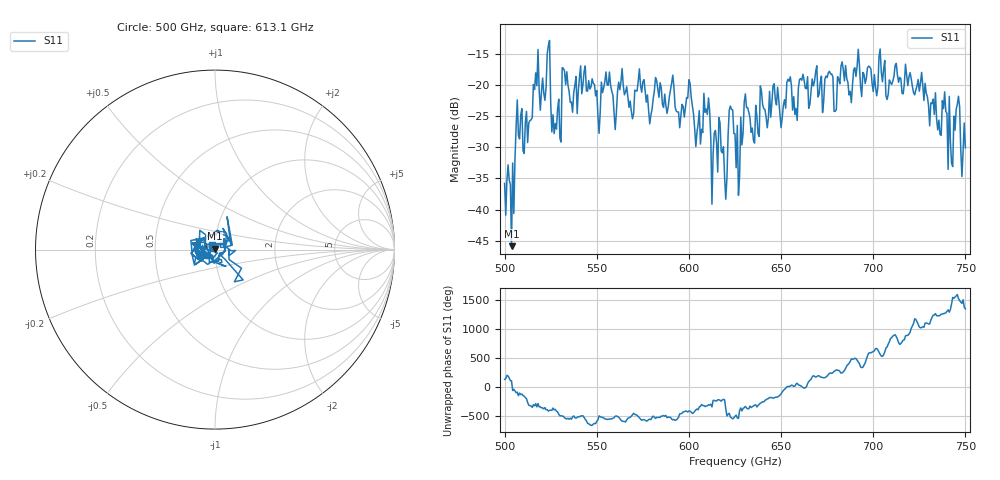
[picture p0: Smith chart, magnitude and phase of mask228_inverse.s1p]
!Created with skrf (http://scikit-rf.org).
# GHz S MA R 50.0
!freq magS11 angS11
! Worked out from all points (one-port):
!   401 points, 500 GHz to 750 GHz, reference 50 ohm
!   lowest |S11| = -45.9 dB at 503.8 GHz (marker M1), VSWR 1.01, Z = 49.9 + j0.495 ohm
!   |S11| at or under -10 dB: start of sweep to end of sweep
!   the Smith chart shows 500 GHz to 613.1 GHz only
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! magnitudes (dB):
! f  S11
! 500 GHz  -35.8
! 503.8 GHz  -45.9
! 507.5 GHz  -28.1
! 513.8 GHz  -25.7
! 516.9 GHz  -18.0
! 523.8 GHz  -13.6
! 526.9 GHz  -27.8
! 531.2 GHz  -17.1
! 560 GHz  -27.1
! 562.5 GHz  -20.7
! 568.8 GHz  -24.1
! 590.6 GHz  -19.6
! 593.8 GHz  -24.3
! 609.4 GHz  -23.8
! 619.4 GHz  -34.9
! 622.5 GHz  -23.3
! 625 GHz  -27.8
! 626.2 GHz  -26.4
! 631.2 GHz  -23.6
! 634.4 GHz  -26.9
! 656.2 GHz  -24.0
! 687.5 GHz  -21.0
! 718.8 GHz  -20.0
! 735.6 GHz  -25.6
! 738.8 GHz  -21.0
! 741.9 GHz  -29.1
! 745.6 GHz  -23.0
! 750 GHz  -30.1
